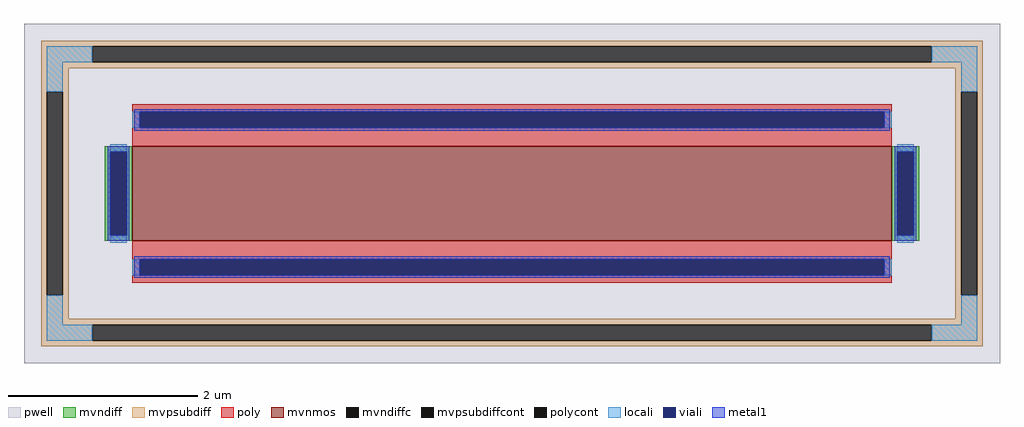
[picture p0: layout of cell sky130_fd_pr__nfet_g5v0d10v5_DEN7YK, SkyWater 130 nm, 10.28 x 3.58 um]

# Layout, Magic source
magic
tech sky130A
<< pwell >>
rect -514 -179 514 179
<< mvnmos >>
rect -400 -50 400 50
<< mvndiff >>
rect -429 44 -400 50
rect -429 -44 -423 44
rect -406 -44 -400 44
rect -429 -50 -400 -44
rect 400 44 429 50
rect 400 -44 406 44
rect 423 -44 429 44
rect 400 -50 429 -44
<< mvndiffc >>
rect -423 -44 -406 44
rect 406 -44 423 44
<< mvpsubdiff >>
rect -496 155 496 161
rect -496 138 -442 155
rect 442 138 496 155
rect -496 132 496 138
rect -496 107 -467 132
rect -496 -107 -490 107
rect -473 -107 -467 107
rect 467 107 496 132
rect -496 -132 -467 -107
rect 467 -107 473 107
rect 490 -107 496 107
rect 467 -132 496 -107
rect -496 -138 496 -132
rect -496 -155 -442 -138
rect 442 -155 496 -138
rect -496 -161 496 -155
<< mvpsubdiffcont >>
rect -442 138 442 155
rect -490 -107 -473 107
rect 473 -107 490 107
rect -442 -155 442 -138
<< poly >>
rect -400 86 400 94
rect -400 69 -392 86
rect 392 69 400 86
rect -400 50 400 69
rect -400 -69 400 -50
rect -400 -86 -392 -69
rect 392 -86 400 -69
rect -400 -94 400 -86
<< polycont >>
rect -392 69 392 86
rect -392 -86 392 -69
<< locali >>
rect -490 138 -442 155
rect 442 138 490 155
rect -490 107 -473 138
rect 473 107 490 138
rect -400 69 -392 86
rect 392 69 400 86
rect -423 44 -406 52
rect -423 -52 -406 -44
rect 406 44 423 52
rect 406 -52 423 -44
rect -400 -86 -392 -69
rect 392 -86 400 -69
rect -490 -138 -473 -107
rect 473 -138 490 -107
rect -490 -155 -442 -138
rect 442 -155 490 -138
<< viali >>
rect -392 69 392 86
rect -423 -44 -406 44
rect 406 -44 423 44
rect -392 -86 392 -69
<< metal1 >>
rect -398 86 398 89
rect -398 69 -392 86
rect 392 69 398 86
rect -398 66 398 69
rect -426 44 -403 50
rect -426 -44 -423 44
rect -406 -44 -403 44
rect -426 -50 -403 -44
rect 403 44 426 50
rect 403 -44 406 44
rect 423 -44 426 44
rect 403 -50 426 -44
rect -398 -69 398 -66
rect -398 -86 -392 -69
rect 392 -86 398 -69
rect -398 -89 398 -86
<< properties >>
string FIXED_BBOX -481 -146 481 146
string gencell sky130_fd_pr__nfet_g5v0d10v5
string library sky130
string parameters w 1 l 8 m 1 nf 1 diffcov 100 polycov 100 guard 1 glc 1 grc 1 gtc 1 gbc 1 tbcov 100 rlcov 100 topc 1 botc 1 poverlap 0 doverlap 1 lmin 0.50 wmin 0.42 compatible {sky130_fd_pr__nfet_01v8 sky130_fd_pr__nfet_01v8_lvt  sky130_fd_bs_flash__special_sonosfet_star  sky130_fd_pr__nfet_g5v0d10v5 sky130_fd_pr__nfet_05v0_nvt  sky130_fd_pr__nfet_03v3_nvt} full_metal 1 viasrc 100 viadrn 100 viagate 100 viagb 0 viagr 0 viagl 0 viagt 0
<< end >>
